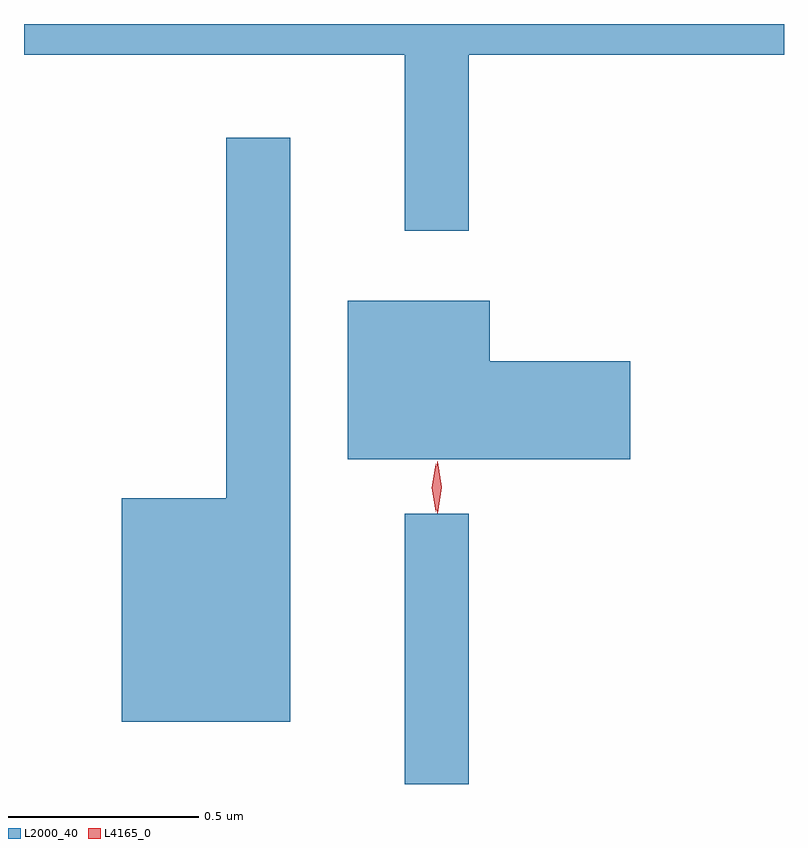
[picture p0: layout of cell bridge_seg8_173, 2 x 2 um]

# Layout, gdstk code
import gdstk
lib = gdstk.Library(unit=1e-6, precision=1e-09)
def R(c, l, rs):  # rectangles x0, y0, x1, y1
    for r in rs: c.add(gdstk.rectangle(r[:2], r[2:], *l))
def P(c, l, *ps):  # polygons
    for p in ps: c.add(gdstk.Polygon(p, *l))
L2000_40 = (2000, 40)
L4165_0 = (4165, 0)

bridge_seg8_173 = lib.new_cell('bridge_seg8_173')
R(bridge_seg8_173, L2000_40, [(1425.911,1901.097,1426.079,1901.808)])
P(bridge_seg8_173, L2000_40, [(1426.079,1903.016),(1426.909,1903.016),(1426.909,1903.097),(1424.909,1903.097),(1424.909,1903.016),(1425.911,1903.016),(1425.911,1902.553),(1426.079,1902.553)],
  [(1425.609,1902.798),(1425.441,1902.798),(1425.441,1901.849),(1425.166,1901.849),(1425.166,1901.261),(1425.609,1901.261)],
  [(1426.504,1902.209),(1426.134,1902.209),(1426.134,1902.369),(1425.761,1902.369),(1425.761,1901.951),(1426.504,1901.951)])
P(bridge_seg8_173, L4165_0, [(1425.997,1901.81),(1425.988,1901.878),(1425.997,1901.945),(1425.998,1901.946),(1425.998,1901.945),(1426.008,1901.878),(1425.998,1901.81),(1425.998,1901.81)],
  [(1425.992,1901.813),(1425.982,1901.876),(1425.992,1901.939),(1425.992,1901.94),(1425.993,1901.939),(1426.002,1901.876),(1425.993,1901.813),(1425.993,1901.813)])

lib.write_gds('bridge_seg8_173.gds')
